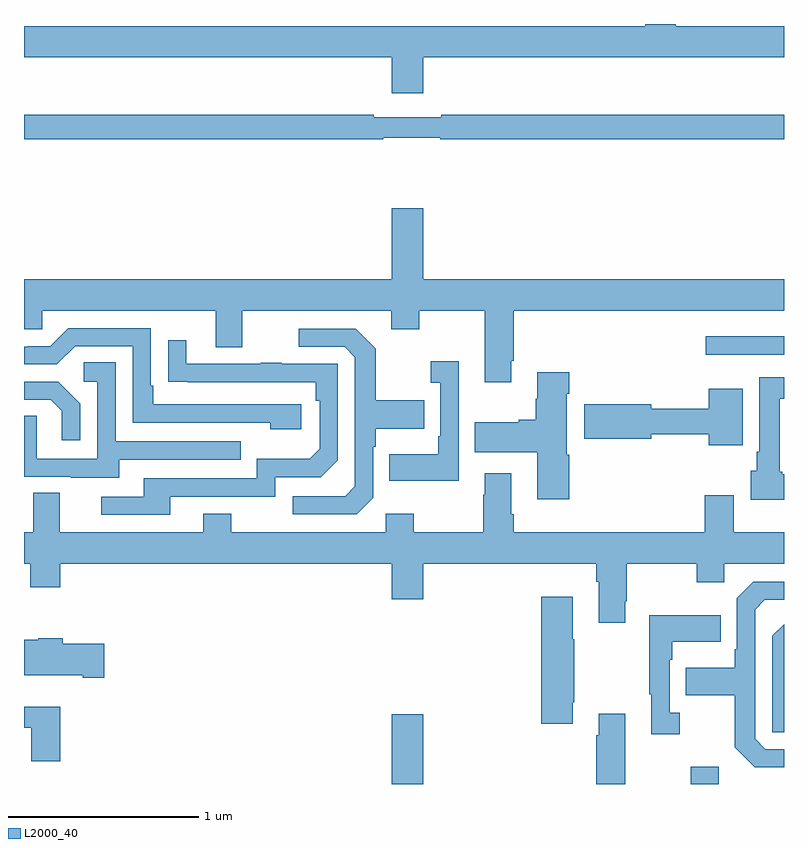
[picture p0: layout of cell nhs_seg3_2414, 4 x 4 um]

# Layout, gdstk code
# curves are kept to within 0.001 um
import gdstk
lib = gdstk.Library(unit=1e-6, precision=1e-09)
def R(c, l, rs):  # rectangles x0, y0, x1, y1
    for r in rs: c.add(gdstk.rectangle(r[:2], r[2:], *l))
def P(c, l, *ps):  # polygons
    for p in ps: c.add(gdstk.Polygon(p, *l))
L2000_40 = (2000, 40)

nhs_seg3_2414 = lib.new_cell('nhs_seg3_2414')
R(nhs_seg3_2414, L2000_40, [(236.936,722.4,237.1,722.767), (238.51,722.4,238.657,722.491), (238.587,724.659,239,724.756)])
P(nhs_seg3_2414, L2000_40, [(237.1,726.224),(239,726.224),(239,726.388),(238.431,726.388),(238.431,726.4),(238.271,726.4),(238.271,726.388),(235,726.388),(235,726.224),(236.936,726.224),(236.936,726.036),(237.1,726.036)],
  [(236.89,725.802),(237.19,725.802),(237.19,725.794),(239,725.794),(239,725.923),(237.196,725.923),(237.196,725.91),(236.84,725.91),(236.84,725.923),(235,725.923),(235,725.794),(236.89,725.794)],
  [(237.565,724.627),(237.578,724.627),(237.578,724.892),(239,724.892),(239,725.056),(237.1,725.056),(237.1,725.431),(236.936,725.431),(236.936,725.056),(235,725.056),(235,724.794),(235.095,724.794),(235.095,724.892),(236.009,724.892),(236.009,724.698),(236.149,724.698),(236.149,724.892),(236.933,724.892),(236.933,724.793),(237.081,724.793),(237.081,724.892),(237.425,724.892),(237.425,724.515),(237.565,724.515)],
  [(236.458,724.398),(235.681,724.398),(235.681,724.495),(235.668,724.495),(235.668,724.8),(235.233,724.8),(235.137,724.704),(235.019,724.704),(235.019,724.701),(235,724.701),(235,724.608),(235.173,724.608),(235.269,724.704),(235.572,724.704),(235.572,724.302),(236.297,724.302),(236.297,724.268),(236.458,724.268)],
  [(236.838,723.906),(236.838,724.175),(236.851,724.175),(236.851,724.271),(237.107,724.271),(237.107,724.419),(236.851,724.419),(236.851,724.691),(236.745,724.797),(236.445,724.797),(236.445,724.701),(236.688,724.701),(236.742,724.647),(236.742,723.966),(236.691,723.915),(236.415,723.915),(236.415,723.819),(236.751,723.819)],
  [(235.771,723.912),(236.322,723.912),(236.322,724.014),(236.562,724.014),(236.652,724.104),(236.652,724.611),(236.357,724.611),(236.357,724.616),(236.245,724.616),(236.245,724.611),(235.855,724.611),(235.855,724.735),(235.759,724.735),(235.759,724.516),(236.536,724.515),(236.536,724.418),(236.556,724.418),(236.556,724.164),(236.503,724.111),(236.226,724.111),(236.226,724.008),(235.631,724.008),(235.631,723.912),(235.407,723.912),(235.407,723.816),(235.771,723.816)],
  [(237.288,724.399),(237.289,724.399),(237.289,724.624),(237.141,724.624),(237.141,724.511),(237.192,724.511),(237.192,724.231),(237.18,724.231),(237.18,724.135),(236.923,724.135),(236.923,723.995),(237.288,723.995)],
  [(235.501,724.107),(236.141,724.107),(236.141,724.203),(235.482,724.203),(235.482,724.619),(235.314,724.619),(235.314,724.518),(235.386,724.518),(235.386,724.113),(235.068,724.113),(235.068,724.337),(235,724.337),(235,724.017),(235.247,724.017),(235.247,724.013),(235.501,724.013)],
  [(237.869,724.133),(237.856,724.133),(237.856,724.454),(237.869,724.454),(237.869,724.567),(237.701,724.567),(237.701,724.427),(237.694,724.427),(237.694,724.316),(237.605,724.316),(237.605,724.303),(237.373,724.303),(237.373,724.145),(237.701,724.145),(237.701,723.9),(237.869,723.9)],
  [(239,724.03),(238.992,724.03),(238.992,724.044),(238.978,724.044),(238.978,724.427),(239,724.427),(239,724.54),(238.871,724.54),(238.871,724.15),(238.856,724.15),(238.856,724.05),(238.826,724.05),(238.826,723.896),(239,723.896)],
  [(235.296,724.402),(235.18,724.518),(235,724.518),(235,724.422),(235.142,724.422),(235.199,724.365),(235.199,724.209),(235.296,724.209)],
  [(238.783,724.48),(238.604,724.48),(238.604,724.376),(238.3,724.376),(238.3,724.4),(237.948,724.4),(237.948,724.217),(238.3,724.217),(238.3,724.24),(238.604,724.24),(238.604,724.184),(238.783,724.184)],
  [(238.165,723.361),(238.173,723.361),(238.173,723.56),(238.54,723.56),(238.54,723.461),(238.686,723.461),(238.686,723.56),(239,723.56),(239,723.724),(238.735,723.724),(238.735,723.919),(238.583,723.919),(238.583,723.724),(237.578,723.724),(237.578,723.82),(237.565,723.82),(237.565,724.036),(237.425,724.036),(237.425,723.923),(237.418,723.923),(237.418,723.724),(237.051,723.724),(237.051,723.823),(236.904,723.823),(236.904,723.724),(236.091,723.724),(236.091,723.823),(235.943,723.823),(235.943,723.724),(235.189,723.724),(235.189,723.932),(235.049,723.932),(235.049,723.724),(235,723.724),(235,723.56),(235.033,723.56),(235.033,723.436),(235.19,723.436),(235.19,723.56),(236.936,723.56),(236.936,723.372),(237.1,723.372),(237.1,723.56),(238.013,723.56),(238.013,723.464),(238.025,723.464),(238.025,723.249),(238.165,723.249)],
  [(239,722.583),(238.902,722.583),(238.848,722.637),(238.848,723.318),(238.899,723.369),(239,723.369),(239,723.465),(238.839,723.465),(238.752,723.378),(238.752,723.109),(238.74,723.109),(238.74,723.013),(238.483,723.013),(238.483,722.866),(238.74,722.866),(238.74,722.593),(238.845,722.487),(239,722.487)],
  [(237.889,722.83),(237.897,722.83),(237.897,723.161),(237.889,723.161),(237.889,723.385),(237.722,723.385),(237.722,722.718),(237.889,722.718)],
  [(238.45,722.774),(238.398,722.774),(238.398,723.053),(238.411,723.053),(238.411,723.149),(238.667,723.149),(238.667,723.289),(238.29,723.289),(238.29,722.873),(238.301,722.873),(238.301,722.661),(238.45,722.661)],
  [(239,723.242),(238.938,723.18),(238.938,722.673),(239,722.673)],
  [(235.423,723.138),(235.205,723.138),(235.205,723.166),(235.074,723.166),(235.074,723.16),(235,723.16),(235,722.972),(235.31,722.972),(235.31,722.96),(235.423,722.96)],
  [(235.19,722.806),(235,722.806),(235,722.697),(235.037,722.697),(235.037,722.52),(235.19,722.52)],
  [(238.165,722.77),(238.025,722.77),(238.025,722.657),(238.013,722.657),(238.013,722.4),(238.165,722.4)])

lib.write_gds('nhs_seg3_2414.gds')
